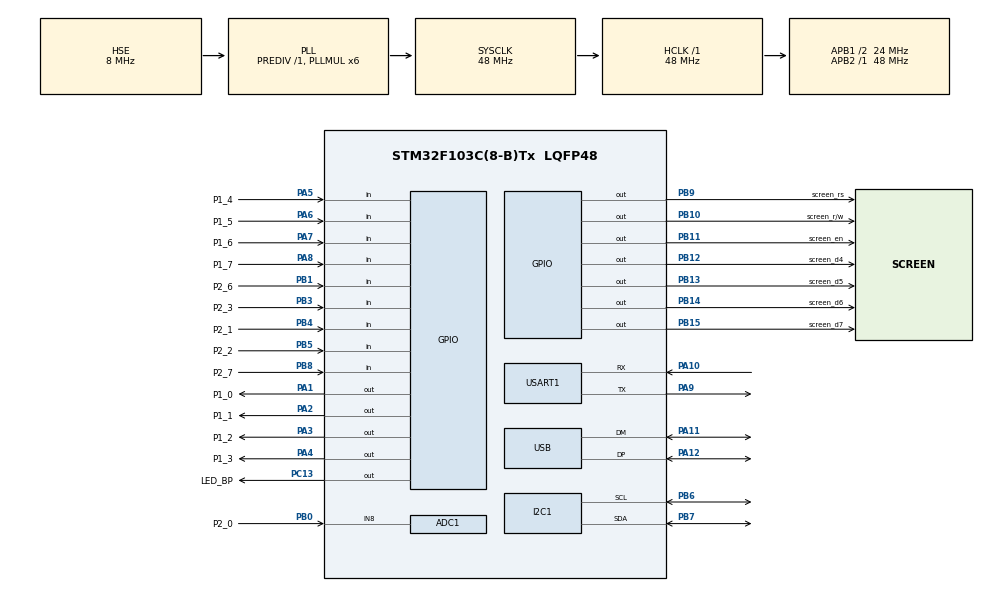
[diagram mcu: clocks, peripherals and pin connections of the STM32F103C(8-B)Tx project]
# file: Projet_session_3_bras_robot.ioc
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ADC1.Channel-2\#ChannelRegularConversion=ADC_CHANNEL_8
ADC1.NbrOfConversionFlag=1
ADC1.Rank-2\#ChannelRegularConversion=1
ADC1.SamplingTime-2\#ChannelRegularConversion=ADC_SAMPLETIME_1CYCLE_5
ADC1.master=1
Mcu.Family=STM32F1
Mcu.Name=STM32F103C(8-B)Tx
Mcu.Package=LQFP48
NVIC.PriorityGroup=NVIC_PRIORITYGROUP_4
NVIC.USB_LP_CAN1_RX0_IRQn=true\:0\:0\:false\:false\:true\:false\:true\:true
PA1.GPIO_Label=P1_0
PA1.Signal=GPIO_Output
PA10.Mode=Asynchronous
PA10.Signal=USART1_RX
PA11.Mode=Device
PA11.Signal=USB_DM
PA12.Mode=Device
PA12.Signal=USB_DP
PA2.GPIO_Label=P1_1
PA2.Signal=GPIO_Output
PA3.GPIO_Label=P1_2
PA3.Signal=GPIO_Output
PA4.GPIO_Label=P1_3
PA4.Signal=GPIO_Output
PA5.GPIO_Label=P1_4
PA5.GPIO_PuPd=GPIO_PULLUP
PA5.Signal=GPIO_Input
PA6.GPIO_Label=P1_5
PA6.GPIO_PuPd=GPIO_PULLUP
PA6.Signal=GPIO_Input
PA7.GPIO_Label=P1_6
PA7.GPIO_PuPd=GPIO_PULLUP
PA7.Signal=GPIO_Input
PA8.GPIO_Label=P1_7
PA8.GPIO_PuPd=GPIO_PULLUP
PA8.Signal=GPIO_Input
PA9.Mode=Asynchronous
PA9.Signal=USART1_TX
PB0.GPIO_Label=P2_0
PB0.Signal=ADCx_IN8
PB1.GPIO_Label=P2_6
PB1.Signal=GPIO_Input
PB10.GPIO_Label=screen_r/w
PB10.Signal=GPIO_Output
PB11.GPIO_Label=screen_en
PB11.Signal=GPIO_Output
PB12.GPIO_Label=screen_d4
PB12.Signal=GPIO_Output
PB13.GPIO_Label=screen_d5
PB13.Signal=GPIO_Output
PB14.GPIO_Label=screen_d6
PB14.Signal=GPIO_Output
PB15.GPIO_Label=screen_d7
PB15.Signal=GPIO_Output
PB3.GPIO_Label=P2_3
PB3.Signal=GPIO_Input
PB4.GPIO_Label=P2_1
PB4.Signal=GPIO_Input
PB5.GPIO_Label=P2_2
PB5.Signal=GPIO_Input
PB6.Mode=I2C
PB6.Signal=I2C1_SCL
PB7.Mode=I2C
PB7.Signal=I2C1_SDA
PB8.GPIO_Label=P2_7
PB8.Signal=GPIO_Input
PB9.GPIO_Label=screen_rs
PB9.Signal=GPIO_Output
PC13-TAMPER-RTC.GPIO_Label=LED_BP
PC13-TAMPER-RTC.Signal=GPIO_Output
PD0-OSC_IN.Mode=HSE-External-Oscillator
PD0-OSC_IN.Signal=RCC_OSC_IN
PD1-OSC_OUT.Mode=HSE-External-Oscillator
PD1-OSC_OUT.Signal=RCC_OSC_OUT
ProjectManager.HeapSize=0x200
ProjectManager.StackSize=0x400
ProjectManager.TargetToolchain=STM32CubeIDE
RCC.ADCPresc=RCC_ADCPCLK2_DIV4
RCC.AHBFreq_Value=48000000
RCC.APB1CLKDivider=RCC_HCLK_DIV2
RCC.APB1Freq_Value=24000000
RCC.APB1TimFreq_Value=48000000
RCC.APB2Freq_Value=48000000
RCC.APB2TimFreq_Value=48000000
RCC.HCLKFreq_Value=48000000
RCC.PLLMUL=RCC_PLL_MUL6
RCC.SYSCLKFreq_VALUE=48000000
RCC.SYSCLKSource=RCC_SYSCLKSOURCE_PLLCLK
RCC.USBFreq_Value=48000000
SH.ADCx_IN8.0=ADC1_IN8,IN8
USART1.VirtualMode=VM_ASYNC
USB_DEVICE.CLASS_NAME_FS=CDC
USB_DEVICE.VirtualMode=Cdc
USB_DEVICE.VirtualModeFS=Cdc_FS
VP_SYS_VS_ND.Mode=No_Debug
VP_USB_DEVICE_VS_USB_DEVICE_CDC_FS.Mode=CDC_FS
board=custom

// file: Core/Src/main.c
/* USER CODE BEGIN Header */
/**
  ******************************************************************************
  * @file           : main.c
  * @brief          : Main program body
  ******************************************************************************
  * @attention
  *
  * Copyright (c) 2025 STMicroelectronics.
  * All rights reserved.
  *
  * This software is licensed under terms that can be found in the LICENSE file
  * in the root directory of this software component.
  * If no LICENSE file comes with this software, it is provided AS-IS.
  *
  ******************************************************************************
  */
/* USER CODE END Header */
#include "main.h"
#include "adc.h"
#include "i2c.h"
#include "usart.h"
#include "usb_device.h"
#include "gpio.h"

/* USER CODE BEGIN Includes */
<<<<<<< HEAD

#include "ecran.h"
#include "Clavier_4x4.h"
#include "Display.h"

=======
#include "PICCom.h"
#include "ecran.h"
>>>>>>> main
/* USER CODE END Includes */

void SystemClock_Config(void);

int main(void)
{

  /* MCU Configuration--------------------------------------------------------*/

  /* Reset of all peripherals, Initializes the Flash interface and the Systick. */
  HAL_Init();

  /* Configure the system clock */
  SystemClock_Config();

  /* Initialize all configured peripherals */
  MX_GPIO_Init();
  MX_USART1_UART_Init();
  MX_USB_DEVICE_Init();
  MX_I2C1_Init();
  MX_ADC1_Init();
  /* USER CODE BEGIN 2 */
<<<<<<< HEAD

  LCD_Init();

  uint8_t msg[6];

  uint16_t Moteur1 = 78;
  uint16_t Moteur2 = 250;
  uint16_t Moteur3 = 174;
  uint16_t Moteur4 = 0;
  uint16_t Moteur5 = 0;

  uint8_t  TableauX = 0;
  uint8_t  TableauY = 0;
  uint8_t  Pince = 0;
  uint8_t  Balance = 0;
  uint8_t  Bloc = 3;             // bloc state 0–3
  uint8_t  Increment = 5;
  uint8_t  Sequence = 7;    // 0–10
  uint8_t  Step = 10;
  uint8_t  État_Communication = 0;

=======
  LCD_Init();
  PICCom_Init(&huart1);
>>>>>>> main
  /* USER CODE END 2 */

  /* Infinite loop */
  /* USER CODE BEGIN WHILE */
  while (1)
  {
<<<<<<< HEAD
	  uint32_t voltage = ADC_ReadVoltage();
	  Balance = DisplayVoltage(voltage);

	  //msg[0] = ScanKeypad();
	  //msg[1] = '\0';

	  LCD_UpdateDisplay(
			  Moteur1,  Moteur2,  Moteur3,  Moteur4,  Moteur5,
			  TableauX,   TableauY,   Pince,   Balance,
			  Bloc, Increment,  Sequence, Step,  État_Communication);

	  HAL_Delay(300);

	  //LCD_String(msg);
	  //HAL_Delay(250);
	  //LCD_Clear();

=======
	  if (PICCom_NewStatus())
	  {
		  LCD_String("NEW STATUS");

		  PIC_Status_t s = PICCom_GetStatus();

		  Motor_Positions_t m;
		  m.motor0 = 100;
		  m.motor1 = 130;
		  m.motor2 = 100;
		  m.motor3 = 50;
		  m.motor4 = 140;
		  PICCom_SendPositions(&m);
  	  }
>>>>>>> main
    /* USER CODE END WHILE */

  }
}

void SystemClock_Config(void)
{
  RCC_OscInitTypeDef RCC_OscInitStruct = {0};
  RCC_ClkInitTypeDef RCC_ClkInitStruct = {0};
  RCC_PeriphCLKInitTypeDef PeriphClkInit = {0};

  /** Initializes the RCC Oscillators according to the specified parameters
  * in the RCC_OscInitTypeDef structure.
  */
  RCC_OscInitStruct.OscillatorType = RCC_OSCILLATORTYPE_HSE;
  RCC_OscInitStruct.HSEState = RCC_HSE_ON;
  RCC_OscInitStruct.HSEPredivValue = RCC_HSE_PREDIV_DIV1;
  RCC_OscInitStruct.HSIState = RCC_HSI_ON;
  RCC_OscInitStruct.PLL.PLLState = RCC_PLL_ON;
  RCC_OscInitStruct.PLL.PLLSource = RCC_PLLSOURCE_HSE;
  RCC_OscInitStruct.PLL.PLLMUL = RCC_PLL_MUL6;
  if (HAL_RCC_OscConfig(&RCC_OscInitStruct) != HAL_OK)
  {
    Error_Handler();
  }

  /** Initializes the CPU, AHB and APB buses clocks
  */
  RCC_ClkInitStruct.ClockType = RCC_CLOCKTYPE_HCLK|RCC_CLOCKTYPE_SYSCLK
                              |RCC_CLOCKTYPE_PCLK1|RCC_CLOCKTYPE_PCLK2;
  RCC_ClkInitStruct.SYSCLKSource = RCC_SYSCLKSOURCE_PLLCLK;
  RCC_ClkInitStruct.AHBCLKDivider = RCC_SYSCLK_DIV1;
  RCC_ClkInitStruct.APB1CLKDivider = RCC_HCLK_DIV2;
  RCC_ClkInitStruct.APB2CLKDivider = RCC_HCLK_DIV1;

  if (HAL_RCC_ClockConfig(&RCC_ClkInitStruct, FLASH_LATENCY_1) != HAL_OK)
  {
    Error_Handler();
  }
  PeriphClkInit.PeriphClockSelection = RCC_PERIPHCLK_ADC|RCC_PERIPHCLK_USB;
  PeriphClkInit.AdcClockSelection = RCC_ADCPCLK2_DIV4;
  PeriphClkInit.UsbClockSelection = RCC_USBCLKSOURCE_PLL;
  if (HAL_RCCEx_PeriphCLKConfig(&PeriphClkInit) != HAL_OK)
  {
    Error_Handler();
  }
}

/* USER CODE BEGIN 4 */
void HAL_UART_RxCpltCallback(UART_HandleTypeDef *huart)
{
    PICCom_RxCallback(huart);
}

/* USER CODE END 4 */

void Error_Handler(void)
{
  __disable_irq();
  while (1)
  {
  }
}
